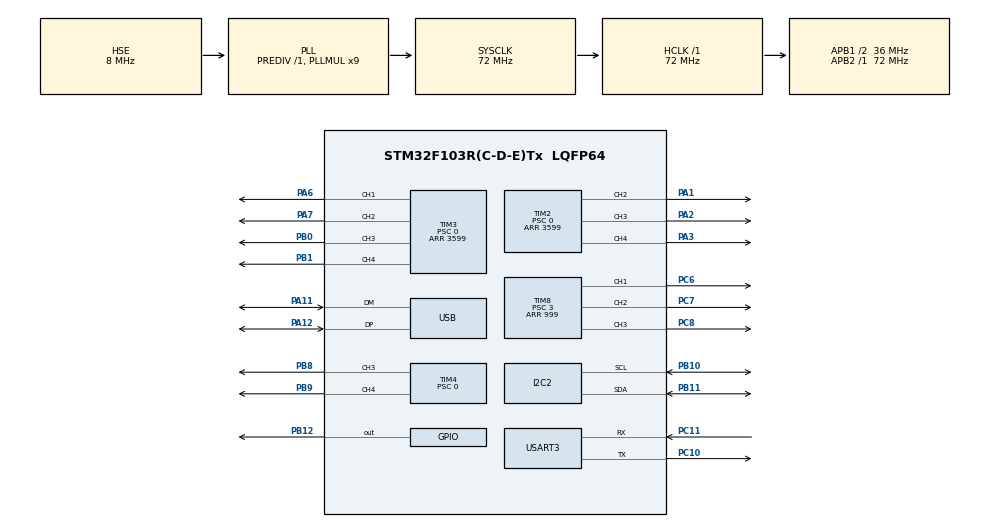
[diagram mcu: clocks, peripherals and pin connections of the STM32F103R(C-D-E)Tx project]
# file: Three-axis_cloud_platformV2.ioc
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Mcu.Family=STM32F1
Mcu.Name=STM32F103R(C-D-E)Tx
Mcu.Package=LQFP64
NVIC.PriorityGroup=NVIC_PRIORITYGROUP_4
NVIC.TIM8_UP_IRQn=true\:1\:0\:true\:false\:true\:true\:true\:true
NVIC.USB_LP_CAN1_RX0_IRQn=true\:0\:0\:false\:false\:true\:true\:true\:true
PA1.Signal=S_TIM2_CH2
PA11.Mode=Device
PA11.Signal=USB_DM
PA12.Mode=Device
PA12.Signal=USB_DP
PA13.Mode=Serial_Wire
PA13.Signal=SYS_JTMS-SWDIO
PA14.Mode=Serial_Wire
PA14.Signal=SYS_JTCK-SWCLK
PA2.Signal=S_TIM2_CH3
PA3.Signal=S_TIM2_CH4
PA6.Signal=S_TIM3_CH1
PA7.Signal=S_TIM3_CH2
PB0.Signal=S_TIM3_CH3
PB1.Signal=S_TIM3_CH4
PB10.Mode=I2C
PB10.Signal=I2C2_SCL
PB11.Mode=I2C
PB11.Signal=I2C2_SDA
PB12.GPIO_PuPd=GPIO_PULLUP
PB12.Signal=GPIO_Output
PB8.Signal=S_TIM4_CH3
PB9.Signal=S_TIM4_CH4
PC10.Mode=Asynchronous
PC10.Signal=USART3_TX
PC11.Mode=Asynchronous
PC11.Signal=USART3_RX
PC6.Signal=S_TIM8_CH1
PC7.Signal=S_TIM8_CH2
PC8.Signal=S_TIM8_CH3
PD0-OSC_IN.Mode=HSE-External-Oscillator
PD0-OSC_IN.Signal=RCC_OSC_IN
PD1-OSC_OUT.Mode=HSE-External-Oscillator
PD1-OSC_OUT.Signal=RCC_OSC_OUT
ProjectManager.HeapSize=0x200
ProjectManager.StackSize=0x400
ProjectManager.TargetToolchain=STM32CubeIDE
RCC.AHBFreq_Value=72000000
RCC.APB1CLKDivider=RCC_HCLK_DIV2
RCC.APB1Freq_Value=36000000
RCC.APB1TimFreq_Value=72000000
RCC.APB2Freq_Value=72000000
RCC.APB2TimFreq_Value=72000000
RCC.HCLKFreq_Value=72000000
RCC.PLLMUL=RCC_PLL_MUL9
RCC.PLLSourceVirtual=RCC_PLLSOURCE_HSE
RCC.SYSCLKFreq_VALUE=72000000
RCC.SYSCLKSource=RCC_SYSCLKSOURCE_PLLCLK
RCC.USBFreq_Value=48000000
RCC.USBPrescaler=RCC_USBCLKSOURCE_PLL_DIV1_5
SH.S_TIM2_CH2.0=TIM2_CH2,PWM Generation2 CH2
SH.S_TIM2_CH3.0=TIM2_CH3,PWM Generation3 CH3
SH.S_TIM2_CH4.0=TIM2_CH4,PWM Generation4 CH4
SH.S_TIM3_CH1.0=TIM3_CH1,PWM Generation1 CH1
SH.S_TIM3_CH2.0=TIM3_CH2,PWM Generation2 CH2
SH.S_TIM3_CH3.0=TIM3_CH3,PWM Generation3 CH3
SH.S_TIM3_CH4.0=TIM3_CH4,PWM Generation4 CH4
SH.S_TIM4_CH3.0=TIM4_CH3,PWM Generation3 CH3
SH.S_TIM4_CH4.0=TIM4_CH4,PWM Generation4 CH4
SH.S_TIM8_CH1.0=TIM8_CH1,PWM Generation1 CH1
SH.S_TIM8_CH2.0=TIM8_CH2,PWM Generation2 CH2
SH.S_TIM8_CH3.0=TIM8_CH3,PWM Generation3 CH3
TIM2.AutoReloadPreload=TIM_AUTORELOAD_PRELOAD_DISABLE
TIM2.Channel-PWM\ Generation2\ CH2=TIM_CHANNEL_2
TIM2.Channel-PWM\ Generation3\ CH3=TIM_CHANNEL_3
TIM2.Channel-PWM\ Generation4\ CH4=TIM_CHANNEL_4
TIM2.Period=3599
TIM2.Prescaler=0
TIM2.Pulse-PWM\ Generation2\ CH2=500
TIM2.Pulse-PWM\ Generation3\ CH3=500
TIM2.Pulse-PWM\ Generation4\ CH4=500
TIM3.AutoReloadPreload=TIM_AUTORELOAD_PRELOAD_DISABLE
TIM3.Channel-PWM\ Generation1\ CH1=TIM_CHANNEL_1
TIM3.Channel-PWM\ Generation2\ CH2=TIM_CHANNEL_2
TIM3.Channel-PWM\ Generation3\ CH3=TIM_CHANNEL_3
TIM3.Channel-PWM\ Generation4\ CH4=TIM_CHANNEL_4
TIM3.Period=3599
TIM3.Prescaler=0
TIM3.Pulse-PWM\ Generation1\ CH1=500
TIM3.Pulse-PWM\ Generation2\ CH2=500
TIM3.Pulse-PWM\ Generation3\ CH3=500
TIM3.Pulse-PWM\ Generation4\ CH4=500
TIM4.AutoReloadPreload=TIM_AUTORELOAD_PRELOAD_DISABLE
TIM4.Channel-PWM\ Generation3\ CH3=TIM_CHANNEL_3
TIM4.Channel-PWM\ Generation4\ CH4=TIM_CHANNEL_4
TIM4.Period=3599
TIM4.Prescaler=0
TIM4.Pulse-PWM\ Generation3\ CH3=500
TIM4.Pulse-PWM\ Generation4\ CH4=500
TIM6.Prescaler=35
TIM8.Channel-PWM\ Generation1\ CH1=TIM_CHANNEL_1
TIM8.Channel-PWM\ Generation2\ CH2=TIM_CHANNEL_2
TIM8.Channel-PWM\ Generation3\ CH3=TIM_CHANNEL_3
TIM8.Period=999
TIM8.Prescaler=3
TIM8.Pulse-PWM\ Generation1\ CH1=500
TIM8.Pulse-PWM\ Generation2\ CH2=500
TIM8.Pulse-PWM\ Generation3\ CH3=500
USART3.VirtualMode=VM_ASYNC
USB_DEVICE.CLASS_NAME_FS=CDC
USB_DEVICE.VirtualMode=Cdc
USB_DEVICE.VirtualModeFS=Cdc_FS
VP_TIM2_VS_ClockSourceINT.Mode=Internal
VP_TIM4_VS_ClockSourceINT.Mode=Internal
VP_TIM6_VS_ClockSourceINT.Mode=Enable_Timer
VP_TIM8_VS_ClockSourceINT.Mode=Internal
VP_USB_DEVICE_VS_USB_DEVICE_CDC_FS.Mode=CDC_FS
board=custom

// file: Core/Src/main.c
/* USER CODE BEGIN Header */
/**
 ******************************************************************************
 * @file           : main.c
 * @brief          : Main program body (主程序体)
 ******************************************************************************
 * @attention
 *
 * Copyright (c) 2026 STMicroelectronics.
 * All rights reserved.
 *
 * This software is licensed under terms that can be found in the LICENSE file
 * in the root directory of this software component.
 * If no LICENSE file comes with this software, it is provided AS-IS.
 *
 ******************************************************************************
 */
/* USER CODE END Header */
#include "main.h"
#include "i2c.h"
#include "tim.h"
#include "usart.h"
#include "usb_device.h"
#include "gpio.h"

/* USER CODE BEGIN Includes */
#include "mpu6050.h"
#include "computeMotorCommands.h"
#include <math.h>
#include "config.h"
/* USER CODE END Includes */

/* USER CODE BEGIN PD */
#define D2R_CONVERT 0.0174532925f  // 角度转弧度转换系数 (pi / 180)
/* USER CODE END PD */

void SystemClock_Config(void);

/* USER CODE BEGIN 0 */
eepromConfig_t eepromConfig;             // EEPROM 配置结构体，保存系统参数
uint32_t last_print_tick = 0;            // 记录上一次串口打印的时间戳
const uint32_t print_interval = 100;     // 每 100 ms 打印一次（10 Hz）
bool mpu_ok = false;                     // MPU6050 初始化状态标志

sensors_t sensors;                       // 传感器数据结构体（加速度、角速度等）

float testPhase = -1.0f * D2R;           // 测试相位（设为-1度）
float testPhaseDelta = 10.0f * D2R;      // 测试相位增量（设为10度）

uint16_t timerValue;                     // 定时器计数值

// 性能分析与循环耗时计算相关变量
uint32_t currentTime;
uint32_t deltaTime1000Hz, previous1000HzTime, executionTime1000Hz;
uint32_t deltaTime500Hz, previous500HzTime, executionTime500Hz;

float dt500Hz;                           // 500Hz 控制环的实际间隔时间 (秒)

// [TIMING TEST] 记录 computeMotorCommands() 的起始时间戳（us），用于分析函数执行时间
uint32_t dbg_compute_start_us = 0;
// [TIMING TEST] 标记当前是否已有有效的 compute 起始时间戳
uint8_t dbg_has_compute_stamp = 0;
// [TIMING TEST] 打印分频计数，避免 500 Hz 下串口刷屏
uint16_t dbg_timing_print_div = 0;

uint32_t loopStartTime;                  // 主循环起始时间

// 系统计时状态
uint32_t sysTickUptime = 0;              // 系统毫秒计数器
uint32_t sysTickCycleCounter = 0;        // DWT (Data Watchpoint and Trace) 周期计数器

bool systemReady = false;                // 系统初始化完成标志

uint16_t frameCounter = 0;               // 帧计数器

uint32_t usTicks = 0;                    // 微秒级时间滴答

bool frame_500Hz = false;                // 500Hz 循环触发标志位（通常在定时器中断中置位）

// 开机姿态收敛延时计数器
uint32_t startup_delay_counter = 0;      // 记录启动后的运行帧数
float attitude_deg_prev[3] = {0.0f, 0.0f, 0.0f}; // 记录上一帧的姿态角，用于判断姿态是否收敛
uint8_t attitude_delta_initialized = 0;  // 姿态差值初始化标志

/**
 * @brief  获取系统运行的微秒数
 * @note   结合 HAL_GetTick (毫秒) 和 SysTick 寄存器 (倒计时) 来计算高精度的微秒时间
 * @retval 系统的微秒时间戳
 */
uint32_t micros(void)
{
  uint32_t m0 = HAL_GetTick();           // 获取当前毫秒数
  uint32_t u0 = SysTick->VAL;            // 获取当前 SysTick 的倒计数值
  uint32_t m1 = HAL_GetTick();           // 再次获取毫秒数以防在读取过程中发生滴答中断
  uint32_t u1 = SysTick->VAL;            // 再次获取 SysTick 倒计数值
  const uint32_t tms = SysTick->LOAD + 1; // SysTick 重装载值（1ms的周期数）

  // 如果两次获取的毫秒数不同，说明刚好跨越了一个毫秒边界
  if (m1 != m0)
  {
    return (m1 * 1000 + ((tms - u1) * 1000) / tms); // 使用新的毫秒数和倒计数值计算
  }
  else
  {
    return (m0 * 1000 + ((tms - u0) * 1000) / tms); // 没有跨越边界，使用旧的数值计算
  }
}

/* USER CODE END 0 */

int main(void)
{

  /* MCU Configuration--------------------------------------------------------*/

  /* Reset of all peripherals, Initializes the Flash interface and the Systick. */
  HAL_Init();

  /* Configure the system clock */
  SystemClock_Config();

  /* Initialize all configured peripherals */
  MX_GPIO_Init();
  MX_TIM3_Init();
  MX_TIM2_Init();
  MX_TIM4_Init();
  MX_I2C2_Init();
  MX_TIM8_Init();
  MX_USART3_UART_Init();
  MX_USB_DEVICE_Init();
  MX_TIM6_Init();
  /* USER CODE BEGIN 2 */
  // 打开 SysTick 中断，周期设置为 1ms
  HAL_SYSTICK_Config(SystemCoreClock / 1000);
  HAL_NVIC_SetPriority(SysTick_IRQn, 0, 0);

  // 打开 DWT (Data Watchpoint and Trace) 周期计数器，用于精确测量代码执行时间（时钟周期级别）
  CoreDebug->DEMCR |= CoreDebug_DEMCR_TRCENA_Msk;
  DWT->CYCCNT = 0;
  DWT->CTRL |= DWT_CTRL_CYCCNTENA_Msk;

  // 先初始化 EEPROM 配置，恢复之前的系统参数
  init_eepromConfig(true);

  // 初始化 PWM 控制，用于驱动电机
  PWM_Motor_Init();
  // HAL_Delay(3000); // 预留的延时（已注释掉）

  // 初始化一阶低通滤波器，用于平滑传感器数据
  initFirstOrderFilter();

  // 初始化 PID 控制器状态参数
  initPID();

  // 最后初始化 MPU6050
  orientIMU(); // 设定 IMU 的安装方向矩阵

  // 初始化 MPU6050 硬件：加速度计量程 ±4g，陀螺仪量程 ±500dps，低通滤波带宽 260Hz
  if (MPU6050_Init(ACCEL_FS_4G, GYRO_FS_500DPS, DLPF_CFG_260HZ))
  {
    HAL_GPIO_WritePin(LED1_GPIO, LED1_PIN, GPIO_PIN_SET); // 点亮 LED 指示初始化成功
    printf(">>> MPU6050 初始化成功！准备开始读取数据。\r\n");
    //printf(">>> 正在执行温度校准，请耐心等待约 2 分钟...\r\n");
    //mpu6050Calibration(); // 执行 IMU 零偏和温度补偿校准
    //printf(">>> 校准完成！开始输出数据。\r\n\r\n");
    // (逻辑上的提示可能有重叠，这里提示跳过温度校准可能是为了调试修改的文案)
    printf(">>> 已跳过温度校准，开始输出数据。\r\n\r\n");
  }
  else
  {
    printf(">>> MPU6050 初始化失败。\r\n\r\n");
  }

  // 初始化姿态控制状态
  // 先关闭电机的各个控制轴使能，等待 AHRS（航姿参考系统）算法收敛后再打开
  eepromConfig.pitchEnabled = false;
  eepromConfig.rollEnabled = false;
  eepromConfig.yawEnabled = false;

  // 初始化 Yaw (偏航轴) PID 参数
  eepromConfig.PID[YAW_PID].P = 0.03f;
  eepromConfig.PID[YAW_PID].I = 0.01f;
  eepromConfig.PID[YAW_PID].D = 0.016f;          // 加一点 D（微分项），减轻自激振荡
  eepromConfig.PID[YAW_PID].lastDcalcValue = 0.0f; // 清空开机时的微分状态缓存
  eepromConfig.PID[YAW_PID].lastDterm = 0.0f;
  eepromConfig.PID[YAW_PID].lastLastDterm = 0.0f;
  eepromConfig.PID[YAW_PID].windupGuard = 0.1f;    // 积分限幅防超调

  // 初始化 Pitch (俯仰轴) PID 参数
  eepromConfig.PID[PITCH_PID].P = 0.01f;
  eepromConfig.PID[PITCH_PID].I = 0.0f;        // I项明显减小，防止累积引起过冲
  eepromConfig.PID[PITCH_PID].D = 0.008f;
  eepromConfig.PID[PITCH_PID].lastDcalcValue = 0.0f;
  eepromConfig.PID[PITCH_PID].lastDterm = 0.0f;
  eepromConfig.PID[PITCH_PID].lastLastDterm = 0.0f;
  eepromConfig.PID[PITCH_PID].windupGuard = 0.5236f; // 积分限幅（约 30 度弧度值）

  // 初始化 Roll (横滚轴) PID 参数
  eepromConfig.PID[ROLL_PID].P = 0.03f;          // 先按与 Pitch 同量级的数值起步
  eepromConfig.PID[ROLL_PID].I = 0.0f;
  eepromConfig.PID[ROLL_PID].D = 0.008f;
  eepromConfig.PID[ROLL_PID].lastDcalcValue = 0.0f;
  eepromConfig.PID[ROLL_PID].lastDterm = 0.0f;
  eepromConfig.PID[ROLL_PID].lastLastDterm = 0.0f;
  eepromConfig.PID[ROLL_PID].windupGuard = 0.5236f;

  systemReady = true; // 系统准备就绪标志位置位
  __HAL_TIM_SET_COUNTER(&htim6, 0); // 清零 TIM6 计数器
  previous500HzTime = micros();     // 记录首次循环的起始微秒时间

  /* USER CODE END 2 */

  /* Infinite loop */
  /* USER CODE BEGIN WHILE */
  while (1)
  {
    // 检查 500Hz 帧触发标志（可能是 TIM 中断触发置位）
    if (frame_500Hz)
    {
      frame_500Hz = false; // 清除标志位，等待下一次中断

      // 计算本帧与上一帧的时间差 (微秒)
      currentTime = micros();
      deltaTime500Hz = currentTime - previous500HzTime;
      previous500HzTime = currentTime;

      // 转换为秒 (dt)，用于积分运算
      dt500Hz = (float)deltaTime500Hz / 1000000.0f;

      // 读取 MPU6050 的原始数据并进行初步处理（如滤波）
      MPU6050_Read_And_Process();

      // 剔除加速度计的偏置误差，并乘以比例因子转换为物理单位 (通常为 m/s^2 或 g)
      sensors.accel500Hz[XAXIS] = ((float)rawAccel[XAXIS].value - accelTCBias[XAXIS]) * ACCEL_SCALE_FACTOR;
      sensors.accel500Hz[YAXIS] = ((float)rawAccel[YAXIS].value - accelTCBias[YAXIS]) * ACCEL_SCALE_FACTOR;
      // 轴向符号已经在 MPU6050_Read_And_Process() 中调整过，
      // 这里保持 Z 轴向下为正，避免对重力方向再次取反。
      sensors.accel500Hz[ZAXIS] = ((float)rawAccel[ZAXIS].value - accelTCBias[ZAXIS]) * ACCEL_SCALE_FACTOR;

      // 剔除陀螺仪的运行偏置(RTBias)和温度校准偏置(TCBias)，并转换为弧度/秒或度/秒
      sensors.gyro500Hz[ROLL] = ((float)rawGyro[ROLL].value - gyroRTBias[ROLL] - gyroTCBias[ROLL]) * GYRO_SCALE_FACTOR;
      sensors.gyro500Hz[PITCH] = ((float)rawGyro[PITCH].value - gyroRTBias[PITCH] - gyroTCBias[PITCH]) * GYRO_SCALE_FACTOR;
      sensors.gyro500Hz[YAW] = ((float)rawGyro[YAW].value - gyroRTBias[YAW] - gyroTCBias[YAW]) * GYRO_SCALE_FACTOR;

      // 运行 MARG (磁传感器、角速率和重力传感器) 航姿参考更新算法
      // 注意：这里磁力计输入均传入 0，表示当前只作为 IMU (6轴) 在运行 Mahony/Madgwick 滤波
      MargAHRSupdate(sensors.gyro500Hz[ROLL],
                     sensors.gyro500Hz[PITCH],
                     sensors.gyro500Hz[YAW],
                     sensors.accel500Hz[XAXIS],
                     sensors.accel500Hz[YAXIS],
                     sensors.accel500Hz[ZAXIS],
                     0, 0, 0, false, dt500Hz);

      // 等待 AHRS（姿态算法）收敛后再打开控制，防止开机瞬间电机乱动
      if (startup_delay_counter < 1000) // 计数 1000 次，500Hz 下相当于延时 2 秒 (1000 * 2ms = 2s)
      {
        startup_delay_counter++;
        if (startup_delay_counter == 1000)
        {
          zeroPIDintegralError();           // 清空在收敛阶段由于姿态偏差累计的 PID 积分量
          zeroPIDstates();                  // 清空微分项的状态变量，防止接通瞬间产生瞬态尖峰
          eepromConfig.pitchEnabled = true; // 姿态稳定后，开启对应的电机控制使能
          eepromConfig.rollEnabled = false;
          eepromConfig.yawEnabled = true;
          printf(">>> AHRS 收敛完成，俯仰轴控制已使能。\r\n");
        }
      }

      // 计算 PID 控制器并输出最终的电机 PWM 指令
      computeMotorCommands(dt500Hz);

      // 记录整个 500Hz 循环的执行耗时，用于性能监控
      executionTime500Hz = micros() - currentTime;
    }

    // 处理 10Hz 的低频非实时任务（如状态检测、串口打印等）
    if (HAL_GetTick() - last_print_tick >= 100) // 100ms = 10Hz 触发条件
    {
      last_print_tick = HAL_GetTick(); // 重置 10Hz 循环的时间戳

      if (systemReady)
      {
          // 这里检查某个归位/返回状态的计数器
    	  // 如果超过阈值且 Pitch 控制已使能，则解除归位状态标志
    	  if(return_state_count>=650 && eepromConfig.pitchEnabled == true)
    	  {
    		  return_state = false;
    		  eepromConfig.rollEnabled = true;
    	  }

    	  if(return_state_count_roll>=650 && eepromConfig.rollEnabled == true)
		  {
			  return_state_roll = false;
		  }
      }

      printf("%.6f,%d\r\n",sensors.margAttitude500Hz[ROLL],return_state_count_roll);
    }
    ////////////////////////////////////////////

    /* USER CODE END WHILE */

  }
}

void SystemClock_Config(void)
{
  RCC_OscInitTypeDef RCC_OscInitStruct = {0};
  RCC_ClkInitTypeDef RCC_ClkInitStruct = {0};
  RCC_PeriphCLKInitTypeDef PeriphClkInit = {0};

  /** Initializes the RCC Oscillators according to the specified parameters
   * in the RCC_OscInitTypeDef structure.
   */
  RCC_OscInitStruct.OscillatorType = RCC_OSCILLATORTYPE_HSE;
  RCC_OscInitStruct.HSEState = RCC_HSE_ON;
  RCC_OscInitStruct.HSEPredivValue = RCC_HSE_PREDIV_DIV1;
  RCC_OscInitStruct.HSIState = RCC_HSI_ON;
  RCC_OscInitStruct.PLL.PLLState = RCC_PLL_ON;
  RCC_OscInitStruct.PLL.PLLSource = RCC_PLLSOURCE_HSE;
  RCC_OscInitStruct.PLL.PLLMUL = RCC_PLL_MUL9;
  if (HAL_RCC_OscConfig(&RCC_OscInitStruct) != HAL_OK)
  {
    Error_Handler();
  }

  /** Initializes the CPU, AHB and APB buses clocks
   */
  RCC_ClkInitStruct.ClockType = RCC_CLOCKTYPE_HCLK | RCC_CLOCKTYPE_SYSCLK | RCC_CLOCKTYPE_PCLK1 | RCC_CLOCKTYPE_PCLK2;
  RCC_ClkInitStruct.SYSCLKSource = RCC_SYSCLKSOURCE_PLLCLK;
  RCC_ClkInitStruct.AHBCLKDivider = RCC_SYSCLK_DIV1;
  RCC_ClkInitStruct.APB1CLKDivider = RCC_HCLK_DIV2;
  RCC_ClkInitStruct.APB2CLKDivider = RCC_HCLK_DIV1;

  if (HAL_RCC_ClockConfig(&RCC_ClkInitStruct, FLASH_LATENCY_2) != HAL_OK)
  {
    Error_Handler();
  }
  PeriphClkInit.PeriphClockSelection = RCC_PERIPHCLK_USB;
  PeriphClkInit.UsbClockSelection = RCC_USBCLKSOURCE_PLL_DIV1_5;
  if (HAL_RCCEx_PeriphCLKConfig(&PeriphClkInit) != HAL_OK)
  {
    Error_Handler();
  }
}

void Error_Handler(void)
{
  __disable_irq();
  while (1)
  {
  }
}
